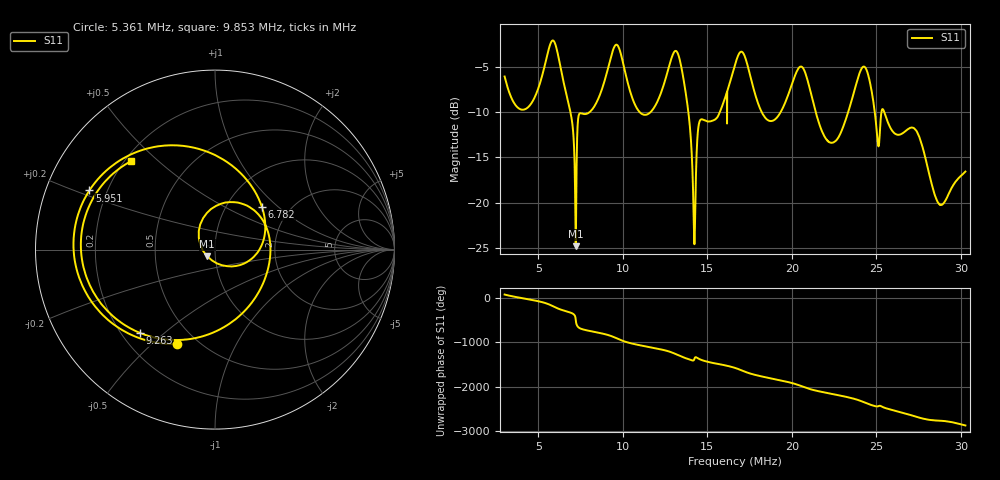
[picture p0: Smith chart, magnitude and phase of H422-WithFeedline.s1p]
# HZ S RI R 50
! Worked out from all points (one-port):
!   2727 points, 3 MHz to 30.27 MHz, reference 50 ohm
!   lowest |S11| = -24.8 dB at 7.212 MHz (marker M1), VSWR 1.12, Z = 45.7 - j3.38 ohm
!   |S11| at or under -10 dB: 13.88 MHz to 15.73 MHz (1.858 MHz wide, 12.5 % of centre); 21.41 MHz to 23.33 MHz (1.916 MHz wide, 8.57 % of centre); 25.47 MHz to end of sweep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
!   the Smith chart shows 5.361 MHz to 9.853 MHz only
!   S11 on the Smith chart (normalised r, x): 5.361 MHz: 0.39, -0.60; 5.951 MHz: 0.13, +0.22; 6.782 MHz: 1.45, +0.79; 9.263 MHz: 0.27, -0.42; 9.853 MHz: 0.22, +0.41
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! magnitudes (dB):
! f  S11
! 3 MHz  -6.0
! 4.18 MHz  -9.7
! 5.361 MHz  -4.9
! 5.951 MHz  -2.2
! 6.411 MHz  -6.0
! 6.782 MHz  -9.0
! 7.212 MHz  -24.8
! 7.452 MHz  -10.1
! 9.263 MHz  -4.1
! 9.823 MHz  -3.2
! 9.853 MHz  -3.4
! 11.3 MHz  -10.3
! 13.23 MHz  -3.4
! 13.87 MHz  -10.0
! 14.21 MHz  -23.8
! 14.56 MHz  -10.9
! 16.64 MHz  -4.7
! 17.14 MHz  -3.5
! 18.68 MHz  -11.0
! 20.05 MHz  -6.7
! 20.68 MHz  -5.1
! 22.27 MHz  -13.4
! 23.46 MHz  -9.2
! 24.29 MHz  -5.0
! 25.1 MHz  -13.5
! 26.87 MHz  -11.9
! 28.75 MHz  -20.2
! 30.27 MHz  -16.6
